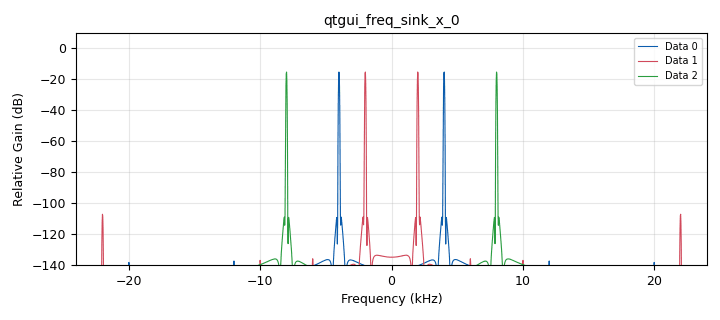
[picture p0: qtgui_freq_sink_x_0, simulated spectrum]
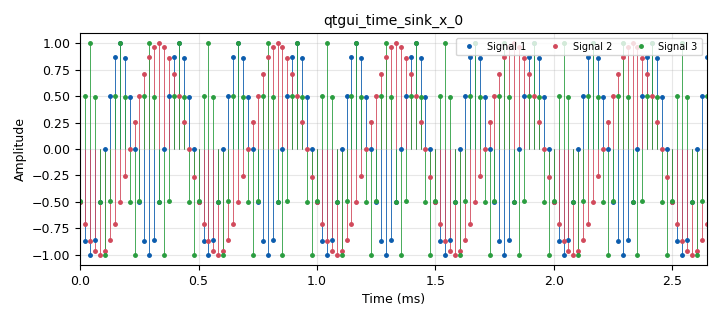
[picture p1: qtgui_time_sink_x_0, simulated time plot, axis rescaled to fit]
options:
  parameters:
    author: Arman_Abello_Gerson_Sanchez_B1B_G4l
    generate_options: qt_gui
    id: Laboratorio1_ParteB
    output_language: python
    title: Not titled yet
  states: {}

blocks:
- name: freq
  id: variable_qtgui_range
  parameters:
    label: frequency
    start: '1000'
    step: '1000'
    stop: '40000'
    value: '4000'
  states: {}
- name: samp_rate
  id: variable_qtgui_range
  parameters:
    label: Frequencia muestreo
    start: '1000'
    step: '1000'
    stop: '80000'
    value: '10000'
  states: {state: disabled}
- name: samp_rate
  id: variable
  parameters:
    value: '48000'
  states: {}
- name: analog_sig_source_x_0
  id: analog_sig_source_x
  parameters:
    amp: '1'
    freq: freq
    offset: '0'
    phase: '0'
    samp_rate: samp_rate
    type: float
    waveform: analog.GR_COS_WAVE
  states: {}
- name: analog_sig_source_x_0_0
  id: analog_sig_source_x
  parameters:
    amp: '1'
    freq: freq
    offset: '0'
    phase: '0'
    samp_rate: samp_rate
    type: float
    waveform: analog.GR_COS_WAVE
  states: {}
- name: analog_sig_source_x_0_1
  id: analog_sig_source_x
  parameters:
    amp: '1'
    freq: freq
    offset: '0'
    phase: '0'
    samp_rate: samp_rate
    type: float
    waveform: analog.GR_COS_WAVE
  states: {}
- name: blocks_throttle_0
  id: blocks_throttle
  parameters:
    samples_per_second: samp_rate
    type: float
  states: {}
- name: qtgui_freq_sink_x_0
  id: qtgui_freq_sink_x
  parameters:
    bw: samp_rate
    fc: '0'
    fftsize: '2048'
    nconnections: '3'
    type: float
  states: {}
- name: qtgui_time_sink_x_0
  id: qtgui_time_sink_x
  parameters:
    nconnections: '3'
    size: '128'
    srate: samp_rate
    stemplot: 'True'
    type: float
  states: {}
- name: rational_resampler_xxx_0
  id: rational_resampler_xxx
  parameters:
    decim: '1'
    interp: '1'
    type: fff
  states: {}
- name: rational_resampler_xxx_0_0
  id: rational_resampler_xxx
  parameters:
    decim: '1'
    interp: '2'
    type: fff
  states: {}
- name: rational_resampler_xxx_0_1
  id: rational_resampler_xxx
  parameters:
    decim: '2'
    interp: '1'
    type: fff
  states: {}

connections:
- [analog_sig_source_x_0, '0', rational_resampler_xxx_0, '0']
- [analog_sig_source_x_0_0, '0', rational_resampler_xxx_0_0, '0']
- [analog_sig_source_x_0_1, '0', rational_resampler_xxx_0_1, '0']
- [blocks_throttle_0, '0', qtgui_freq_sink_x_0, '0']
- [blocks_throttle_0, '0', qtgui_time_sink_x_0, '0']
- [rational_resampler_xxx_0, '0', blocks_throttle_0, '0']
- [rational_resampler_xxx_0_0, '0', qtgui_freq_sink_x_0, '1']
- [rational_resampler_xxx_0_0, '0', qtgui_time_sink_x_0, '1']
- [rational_resampler_xxx_0_1, '0', qtgui_freq_sink_x_0, '2']
- [rational_resampler_xxx_0_1, '0', qtgui_time_sink_x_0, '2']

metadata:
  file_format: 1
  grc_version: 3.10.5.1
